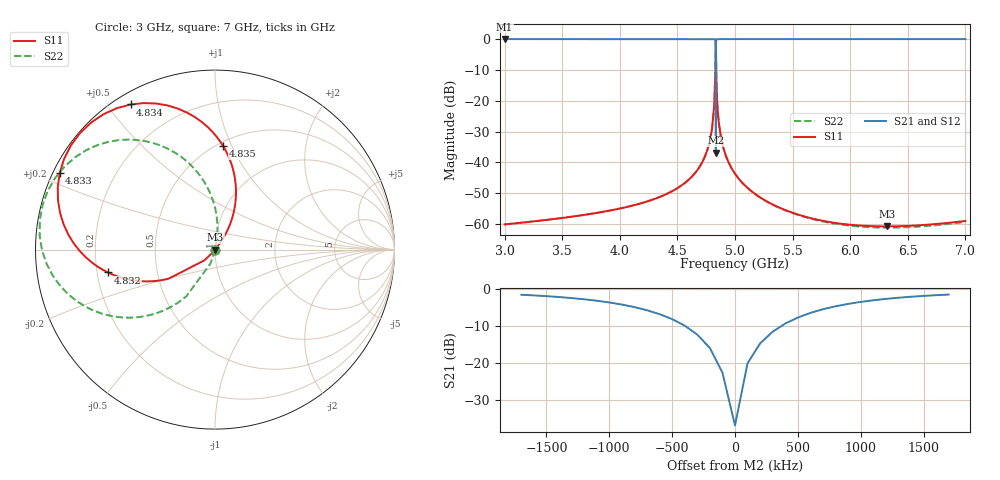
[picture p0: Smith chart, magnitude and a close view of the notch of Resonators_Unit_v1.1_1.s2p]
! Sonnet Data File
! From: emgraph Version : 14.52
! From Emgraph Data: Resonators_Unit_v1.1_1
! Data File Written: 05/16/2020 05:38:22
!< HDATE 05/15/2020 12:33:18
!< MDATE 05/16/2020 02:45:09
# GHZ S MA R 50.00000
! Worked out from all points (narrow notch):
!   401 points, 3 GHz to 7 GHz, reference 50 ohm
!   highest |S21| = 0.00 dB at 3 GHz (marker M1); lowest = -36.8 dB at 4.834 GHz (marker M2)
!   notch at M2: 36.8 dB deep, 295 kHz wide at half that depth
!   lowest |S11| = -60.7 dB at 6.32 GHz (marker M3), VSWR 1.00, Z = 50.1 + j0.0363 ohm
!   |S11| at or under -10 dB: start of sweep to 4.83 GHz; 4.837 GHz to end of sweep
!   |S22| runs from -61.1 to -0.1 dB; largest |S21 - S12| = 1.5e-12
!   S11 on the Smith chart (normalised r, x): 3 GHz: 1.00, -0.00; 4.832 GHz: 0.24, -0.10; 4.833 GHz: 0.02, +0.23; 4.834 GHz: 0.04, +0.57; 4.835 GHz: 0.54, +0.93; 7 GHz: 1.00, +0.00
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3  0.0009904 -109.4  1 -16.7  1 -16.7  0.0009902 -103.0
!< P1 F=3.0 Eeff=(6.45855825 -1.0238e-5) Z0=(49.0102735 -2.1836e-5) R=0.0 C=0.0
!< P2 F=3.0 Eeff=(6.45855825 -1.0238e-5) Z0=(49.0102735 -2.1836e-5) R=0.0 C=0.0
3.68  0.001403 -114.7  1 -20.5  1 -20.5  0.001404 -104.4
4.34  0.002728 -122.5  1 -24.3  1 -24.3  0.002729 -105.1
4.74  0.01263 -129.2  0.9999 -27.1  0.9999 -27.1  0.01262 -104.7
4.82  0.08453 -134.7  0.9964 -31.6  0.9964 -31.6  0.08446 -108.6
4.83  0.305 -147.9  0.9517 -44.6  0.9517 -44.6  0.3047 -121.5
4.8302  0.3212 -148.9  0.9463 -45.6  0.9463 -45.6  0.3209 -122.5
4.8321  0.6101 -167.9  0.7892 -64.4  0.7892 -64.4  0.6096 -141.5
4.8329  0.8545 170.6  0.5102 -85.5  0.5102 -85.5  0.8537 -163.0
4.8333  0.9645 153.8  0.2399 -101.4  0.2399 -101.4  0.9636 -179.8
4.8336  0.9934 139.2  0.01441 33.7  0.01441 33.7  0.9925 165.7
4.834  0.9351 120.2  0.3379 42.3  0.3379 42.3  0.9342 146.6
4.8352  0.5779 85.5  0.8134 8.4  0.8134 8.4  0.5774 112.0
4.839  0.207 61.8  0.978 -14.9  0.978 -14.9  0.2068 88.4
4.85  0.06941 53.6  0.9975 -23.0  0.9975 -23.0  0.06934 80.5
4.86  0.04307 51.9  0.999 -24.5  0.999 -24.5  0.04302 79.0
5  0.006578 47.1  1 -27.4  1 -27.4  0.006562 77.6
5.26  0.002431 41.5  1 -29.1  1 -29.1  0.002414 78.9
5.68  0.001224 32.3  1 -31.5  1 -31.5  0.001198 81.2
6.32  0.0009193 23.2  0.9999 -35.1  0.9999 -35.1  0.0008776 80.0
6.34  0.0009197 23.1  0.9999 -35.2  0.9999 -35.2  0.0008777 79.8
7  0.001129 22.3  0.9999 -39.0  0.9999 -39.0  0.001086 72.8
